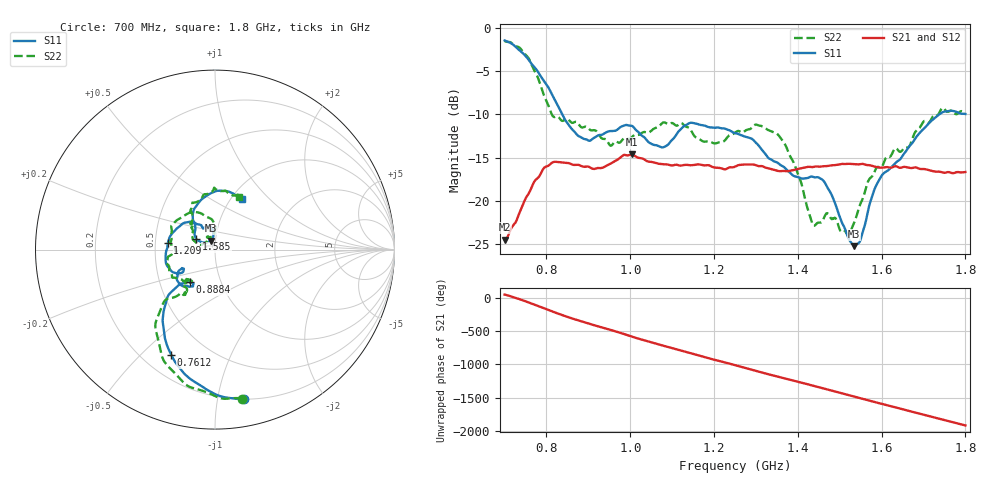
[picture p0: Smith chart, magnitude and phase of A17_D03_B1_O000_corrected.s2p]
! Created with skrf 1.9.0 (http://scikit-rf.org).
# Hz S RI R 50.0
!freq ReS11 ImS11 ReS21 ImS21 ReS12 ImS12 ReS22 ImS22
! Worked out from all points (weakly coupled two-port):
!   1601 points, 700 MHz to 1.8 GHz, reference 50 ohm
!   highest |S21| = -14.63 dB at 1.003 GHz (marker M1); lowest = -24.5 dB at 701.4 MHz (marker M2)
!   lowest |S11| = -25.3 dB at 1.535 GHz (marker M3), VSWR 1.12, Z = 47.5 + j4.68 ohm
!   |S11| at or under -10 dB: 837.6 MHz to 1.737 GHz (899.7 MHz wide, 69.9 % of centre)
!   |S22| runs from -23.9 to -1.5 dB; largest |S21 - S12| = 0.0034
!   S11 on the Smith chart (normalised r, x): 700 MHz: 0.20, -1.19; 761.2 MHz: 0.32, -0.62; 888.4 MHz: 0.71, -0.27; 1.209 GHz: 0.58, +0.05; 1.585 GHz: 0.81, +0.10; 1.8 GHz: 1.12, +0.70
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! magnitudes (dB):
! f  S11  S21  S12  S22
! 700 MHz  -1.4  -24.5  -24.3  -1.5
! 701.4 MHz  -1.5  -24.5  -24.1  -1.5
! 761.2 MHz  -3.9  -18.8  -18.7  -3.9
! 814.8 MHz  -7.8  -15.5  -15.6  -10.2
! 883.6 MHz  -12.7  -16.0  -15.9  -11.5
! 888.4 MHz  -12.8  -16.1  -16.0  -11.5
! 953 MHz  -11.9  -15.7  -15.7  -13.6
! 1.003 GHz  -11.3  -14.6  -14.8  -12.7
! 1.067 GHz  -13.6  -15.7  -15.6  -11.4
! 1.142 GHz  -11.0  -15.9  -15.8  -11.6
! 1.209 GHz  -11.5  -16.2  -16.2  -13.3
! 1.25 GHz  -12.2  -16.0  -16.0  -12.1
! 1.355 GHz  -15.7  -16.6  -16.5  -12.5
! 1.394 GHz  -17.2  -16.4  -16.4  -16.1
! 1.434 GHz  -17.2  -16.1  -16.1  -22.5
! 1.465 GHz  -18.0  -16.0  -16.0  -21.7
! 1.519 GHz  -24.1  -15.7  -15.7  -23.9
! 1.535 GHz  -25.3  -15.8  -15.8  -22.5
! 1.585 GHz  -18.5  -16.1  -16.1  -16.4
! 1.617 GHz  -16.4  -16.1  -16.1  -14.9
! 1.739 GHz  -9.9  -16.6  -16.7  -9.7
! 1.8 GHz  -9.9  -16.7  -16.7  -9.8
